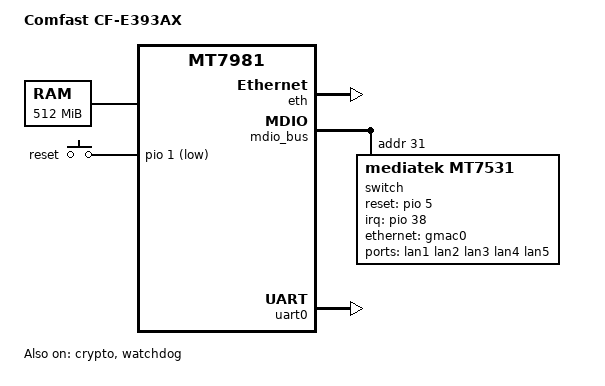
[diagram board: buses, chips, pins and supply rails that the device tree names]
// SPDX-License-Identifier: GPL-2.0-or-later OR MIT

/dts-v1/;
#include "mt7981.dtsi"

/ {
	model = "Comfast CF-E393AX";
	compatible = "comfast,cf-e393ax", "mediatek,mt7981";

	aliases {
		serial0 = &uart0;
	};

	chosen {
		bootargs-override = "console=ttyS0,115200n8";
		stdout-path = "serial0:115200n8";
	};

	memory {
		reg = <0 0x40000000 0 0x20000000>;
	};

	gpio-keys {
		compatible = "gpio-keys";

		reset {
			label = "reset";
			linux,code = <KEY_RESTART>;
			gpios = <&pio 1 GPIO_ACTIVE_LOW>;
		};
	};
};

&eth {
	status = "okay";

	gmac0: mac@0 {
		compatible = "mediatek,eth-mac";
		reg = <0>;
		phy-mode = "2500base-x";

		fixed-link {
			speed = <2500>;
			full-duplex;
			pause;
		};
	};

	gmac1: mac@1 {
		compatible = "mediatek,eth-mac";
		reg = <1>;
		phy-mode = "gmii";
		phy-handle = <&int_gbe_phy>;
	};
};

&mdio_bus {
	switch: switch@1f {
		compatible = "mediatek,mt7531";
		reg = <31>;
		interrupt-controller;
		#interrupt-cells = <1>;
		interrupt-parent = <&pio>;
		interrupts = <38 IRQ_TYPE_LEVEL_HIGH>;
		reset-gpios = <&pio 5 GPIO_ACTIVE_HIGH>;
	};
};

&crypto {
	status = "okay";
};

&pio {
	spi0_flash_pins: spi0-pins {
		mux {
			function = "spi";
			groups = "spi0", "spi0_wp_hold";
		};
		conf-pu {
			pins = "SPI0_CS", "SPI0_HOLD", "SPI0_WP";
			drive-strength = <MTK_DRIVE_8mA>;
			bias-pull-up = <MTK_PUPD_SET_R1R0_11>;
		};
		conf-pd {
			pins = "SPI0_CLK", "SPI0_MOSI", "SPI0_MISO";
			drive-strength = <MTK_DRIVE_8mA>;
			bias-pull-down = <MTK_PUPD_SET_R1R0_11>;
		};
	};

};

&spi0 {
	pinctrl-names = "default";
	pinctrl-0 = <&spi0_flash_pins>;
	cs-gpios = <0>, <0>;
	#address-cells = <1>;
	#size-cells = <0>;
	status = "disabled";
};

&switch {
	ports {
		#address-cells = <1>;
		#size-cells = <0>;

		port@0 {
			reg = <0>;
			label = "lan1";
		};

		port@1 {
			reg = <1>;
			label = "lan2";
		};

		port@2 {
			reg = <2>;
			label = "lan3";
		};

		port@3 {
			reg = <3>;
			label = "lan4";
		};

		sw_p5: port@5 {
			reg = <5>;
			label = "lan5";
			status = "disabled";
		};

		port@6 {
			reg = <6>;
			ethernet = <&gmac0>;
			phy-mode = "2500base-x";

			fixed-link {
				speed = <2500>;
				full-duplex;
				pause;
			};
		};
	};
};

&uart0 {
	status = "okay";
};

&watchdog {
	status = "okay";
};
